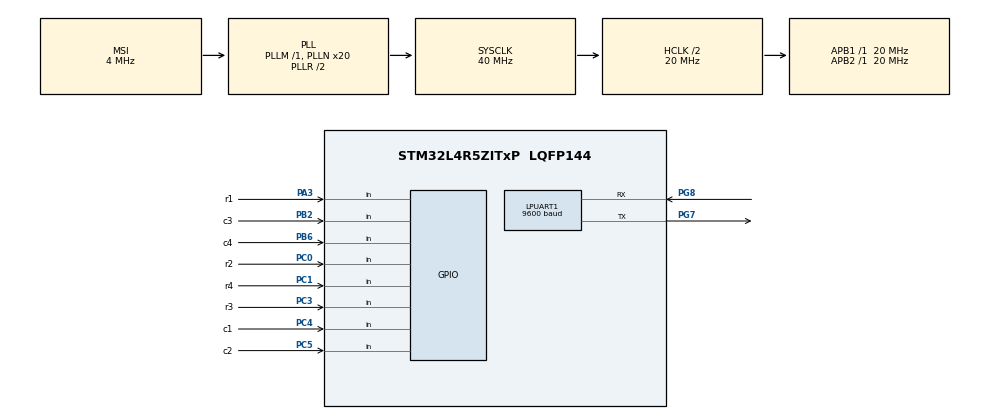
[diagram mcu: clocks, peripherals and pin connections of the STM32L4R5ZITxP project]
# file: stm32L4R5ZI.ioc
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LPUART1.BaudRate=9600
LPUART1.DMADisableonRxErrorParam=UART_ADVFEATURE_DMA_DISABLEONRXERROR
LPUART1.OverrunDisableParam=UART_ADVFEATURE_OVERRUN_DISABLE
LPUART1.WordLength=UART_WORDLENGTH_8B
Mcu.Family=STM32L4
Mcu.Name=STM32L4R5ZITxP
Mcu.Package=LQFP144
NVIC.PriorityGroup=NVIC_PRIORITYGROUP_4
PA3.GPIO_Label=r1
PA3.Signal=GPIO_Input
PB2.GPIO_Label=c3
PB2.GPIO_PuPd=GPIO_PULLUP
PB2.Signal=GPIO_Input
PB6.GPIO_Label=c4
PB6.GPIO_PuPd=GPIO_PULLUP
PB6.Signal=GPIO_Input
PC0.GPIO_Label=r2
PC0.Signal=GPIO_Input
PC1.GPIO_Label=r4
PC1.Signal=GPIO_Input
PC3.GPIO_Label=r3
PC3.Signal=GPIO_Input
PC4.GPIO_Label=c1
PC4.GPIO_PuPd=GPIO_PULLUP
PC4.Signal=GPIO_Input
PC5.GPIO_Label=c2
PC5.GPIO_PuPd=GPIO_PULLUP
PC5.Signal=GPIO_Input
PG7.Mode=Asynchronous
PG7.Signal=LPUART1_TX
PG8.Mode=Asynchronous
PG8.Signal=LPUART1_RX
ProjectManager.HeapSize=0x200
ProjectManager.StackSize=0x400
ProjectManager.TargetToolchain=STM32CubeIDE
RCC.AHBCLKDivider=RCC_SYSCLK_DIV2
RCC.AHBFreq_Value=20000000
RCC.APB1Freq_Value=20000000
RCC.APB1TimFreq_Value=20000000
RCC.APB2Freq_Value=20000000
RCC.APB2TimFreq_Value=20000000
RCC.CortexFreq_Value=20000000
RCC.HCLKFreq_Value=20000000
RCC.HSE_VALUE=8000000
RCC.HSI48_VALUE=48000000
RCC.HSI_VALUE=16000000
RCC.LSE_VALUE=32768
RCC.MSI_VALUE=4000000
RCC.PLLN=20
RCC.SYSCLKFreq_VALUE=40000000
RCC.SYSCLKSource=RCC_SYSCLKSOURCE_PLLCLK
RCC.VCOOutputFreq_Value=80000000
board=custom

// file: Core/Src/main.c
/* USER CODE BEGIN Header */
/**
 ******************************************************************************
 * @file           : main.c
 * @brief          : Main program body
 ******************************************************************************
 * @attention
 *
 * Copyright (c) 2021 STMicroelectronics.
 * All rights reserved.
 *
 * This software is licensed under terms that can be found in the LICENSE file
 * in the root directory of this software component.
 * If no LICENSE file comes with this software, it is provided AS-IS.
 *
 ******************************************************************************
 */
/* USER CODE END Header */
#include "main.h"

/* USER CODE BEGIN Includes */
#define TEST_PROJECT
//#define APP_PROJECT

#include <string.h>
#include <stdio.h>
#include "../../../../keypad-nxn.h"
#include "../../../../keypad-nxn.c"

#ifdef TEST_PROJECT
extern int mainTest();
#endif

/* USER CODE END Includes */

UART_HandleTypeDef hlpuart1;

void SystemClock_Config(void);
static void MX_GPIO_Init(void);
static void MX_LPUART1_UART_Init(void);

/* USER CODE BEGIN 0 */
#define ROW1 a3
#define ROW2 c0
#define ROW3 c3
#define ROW4 c1
#define COL1 c4
#define COL2 c5
#define COL3 b2
#define COL4 b6

keypad_t mykeypad;
const uint8_t keypad_rows_number = 4;
const uint8_t keypad_cols_number = 4;
bool keypad_init_periph() {
	// all columns as "INPUT PULL_UP"
	// all rows as " FLOATING INPUT"
	MX_GPIO_Init();
	return true;
}
bool keypad_deinit_periph() {

	LL_GPIO_InitTypeDef GPIO_InitStruct = { 0 };

	GPIO_InitStruct.Pin = r2_Pin | r4_Pin | r3_Pin;
	GPIO_InitStruct.Mode = LL_GPIO_MODE_ANALOG;
	GPIO_InitStruct.Pull = LL_GPIO_PULL_NO;
	LL_GPIO_Init(GPIOC, &GPIO_InitStruct);

	GPIO_InitStruct.Pin = r1_Pin;
	GPIO_InitStruct.Mode = LL_GPIO_MODE_ANALOG;
	GPIO_InitStruct.Pull = LL_GPIO_PULL_NO;
	LL_GPIO_Init(r1_GPIO_Port, &GPIO_InitStruct);

	GPIO_InitStruct.Pin = c1_Pin | c2_Pin;
	GPIO_InitStruct.Mode = LL_GPIO_MODE_ANALOG;
	GPIO_InitStruct.Pull = LL_GPIO_PULL_NO;
	LL_GPIO_Init(GPIOC, &GPIO_InitStruct);

	GPIO_InitStruct.Pin = c3_Pin | c4_Pin;
	GPIO_InitStruct.Mode = LL_GPIO_MODE_ANALOG;
	GPIO_InitStruct.Pull = LL_GPIO_PULL_NO;
	LL_GPIO_Init(GPIOB, &GPIO_InitStruct);

	return true;
}
void row_as_input(uint8_t row) {
	switch (row) {
	case 1:
		LL_GPIO_SetPinMode(GPIOA, LL_GPIO_PIN_3, LL_GPIO_MODE_INPUT);
		break;
	case 2:
		LL_GPIO_SetPinMode(GPIOC, LL_GPIO_PIN_0, LL_GPIO_MODE_INPUT);
		break;
	case 3:
		LL_GPIO_SetPinMode(GPIOC, LL_GPIO_PIN_3, LL_GPIO_MODE_INPUT);
		break;
	case 4:
		LL_GPIO_SetPinMode(GPIOC, LL_GPIO_PIN_1, LL_GPIO_MODE_INPUT);
		break;
	default:
		break;
	}
}
void row_as_output_low(uint8_t row) {
	switch (row) {
	case 1:
		LL_GPIO_SetPinMode(GPIOA, LL_GPIO_PIN_3, LL_GPIO_MODE_OUTPUT);
		LL_GPIO_ResetOutputPin(GPIOA, LL_GPIO_PIN_3);
		break;
	case 2:
		LL_GPIO_SetPinMode(GPIOC, LL_GPIO_PIN_0, LL_GPIO_MODE_OUTPUT);
		LL_GPIO_ResetOutputPin(GPIOC, LL_GPIO_PIN_0);
		break;
	case 3:
		LL_GPIO_SetPinMode(GPIOC, LL_GPIO_PIN_3, LL_GPIO_MODE_OUTPUT);
		LL_GPIO_ResetOutputPin(GPIOC, LL_GPIO_PIN_3);
		break;
	case 4:
		LL_GPIO_SetPinMode(GPIOC, LL_GPIO_PIN_1, LL_GPIO_MODE_OUTPUT);
		LL_GPIO_ResetOutputPin(GPIOC, LL_GPIO_PIN_1);
		break;
	default:
		break;
	}
}
uint8_t get_column_value(uint8_t column) {
	switch (column) {
	case 1:
		return LL_GPIO_IsInputPinSet(GPIOC, LL_GPIO_PIN_4);
	case 2:
		return LL_GPIO_IsInputPinSet(GPIOC, LL_GPIO_PIN_5);
	case 3:
		return LL_GPIO_IsInputPinSet(GPIOB, LL_GPIO_PIN_2);
	case 4:
		return LL_GPIO_IsInputPinSet(GPIOB, LL_GPIO_PIN_6);
	default:
		return 0;
	}
}
void keypad_delay_ms(int ms) {
	for (int i = 0; i < ms; i++)
		HAL_Delay(1);
}
/* USER CODE END 0 */

int main(void)
{

  /* MCU Configuration--------------------------------------------------------*/

  /* Reset of all peripherals, Initializes the Flash interface and the Systick. */
  HAL_Init();

  /* Configure the system clock */
  SystemClock_Config();

  /* Initialize all configured peripherals */
  MX_LPUART1_UART_Init();
  /* USER CODE BEGIN 2 */

	// Init peripherals asociated to the keypad:
	// all columns as "INPUT PULL_UP"
	// all rows as " FLOATING INPUT"
	// Create a variable of type "keypad_t" and define each of its attributes
	mykeypad.rows = keypad_rows_number;
	mykeypad.columns = keypad_cols_number;
	mykeypad.init_periph = keypad_init_periph;
	mykeypad.deinit_periph = keypad_deinit_periph;
	mykeypad.row_as_Input = row_as_input;
	mykeypad.row_as_OutputLow = row_as_output_low;
	mykeypad.get_column_value = get_column_value;
	mykeypad.delay_ms = keypad_delay_ms;

	// Call "init_keypad" to initialize the keypad. In this case it does nothing
#ifdef APP_PROJECT
	init_keypad(&mykeypad);
	HAL_UART_Transmit(&hlpuart1, (uint8_t*) "PRESS KEYS:\n\r", 13, 1000);
#endif
#ifdef TEST_PROJECT
	return mainTest();
#endif
  /* USER CODE END 2 */

  /* Infinite loop */
  /* USER CODE BEGIN WHILE */
	while (1) {

		//Call "scan_keypad" to check if any key is pressed
#ifdef APP_PROJECT
		keypad_keyPos_t key;
		keypad_error_t res = scan_keypad(&mykeypad, &key);
		if (key.row != -1 && key.column != -1) {
			char bufer[100] = { 0 };
			sprintf(bufer, "key pressed: r%i,c%i\n\r", key.row, key.column);
			HAL_UART_Transmit(&hlpuart1, (uint8_t*) bufer, strlen(bufer), 1000);
		}

		HAL_Delay(1000);
#endif
#ifdef TEST_PROJECT

#endif
    /* USER CODE END WHILE */

	}
}

void SystemClock_Config(void)
{
  RCC_OscInitTypeDef RCC_OscInitStruct = {0};
  RCC_ClkInitTypeDef RCC_ClkInitStruct = {0};

  /** Configure the main internal regulator output voltage
  */
  if (HAL_PWREx_ControlVoltageScaling(PWR_REGULATOR_VOLTAGE_SCALE1) != HAL_OK)
  {
    Error_Handler();
  }
  /** Initializes the RCC Oscillators according to the specified parameters
  * in the RCC_OscInitTypeDef structure.
  */
  RCC_OscInitStruct.OscillatorType = RCC_OSCILLATORTYPE_MSI;
  RCC_OscInitStruct.MSIState = RCC_MSI_ON;
  RCC_OscInitStruct.MSICalibrationValue = 0;
  RCC_OscInitStruct.MSIClockRange = RCC_MSIRANGE_6;
  RCC_OscInitStruct.PLL.PLLState = RCC_PLL_ON;
  RCC_OscInitStruct.PLL.PLLSource = RCC_PLLSOURCE_MSI;
  RCC_OscInitStruct.PLL.PLLM = 1;
  RCC_OscInitStruct.PLL.PLLN = 20;
  RCC_OscInitStruct.PLL.PLLP = RCC_PLLP_DIV2;
  RCC_OscInitStruct.PLL.PLLQ = RCC_PLLQ_DIV2;
  RCC_OscInitStruct.PLL.PLLR = RCC_PLLR_DIV2;
  if (HAL_RCC_OscConfig(&RCC_OscInitStruct) != HAL_OK)
  {
    Error_Handler();
  }
  /** Initializes the CPU, AHB and APB buses clocks
  */
  RCC_ClkInitStruct.ClockType = RCC_CLOCKTYPE_HCLK|RCC_CLOCKTYPE_SYSCLK
                              |RCC_CLOCKTYPE_PCLK1|RCC_CLOCKTYPE_PCLK2;
  RCC_ClkInitStruct.SYSCLKSource = RCC_SYSCLKSOURCE_PLLCLK;
  RCC_ClkInitStruct.AHBCLKDivider = RCC_SYSCLK_DIV2;
  RCC_ClkInitStruct.APB1CLKDivider = RCC_HCLK_DIV1;
  RCC_ClkInitStruct.APB2CLKDivider = RCC_HCLK_DIV1;

  if (HAL_RCC_ClockConfig(&RCC_ClkInitStruct, FLASH_LATENCY_0) != HAL_OK)
  {
    Error_Handler();
  }
}

static void MX_LPUART1_UART_Init(void)
{

  hlpuart1.Instance = LPUART1;
  hlpuart1.Init.BaudRate = 9600;
  hlpuart1.Init.WordLength = UART_WORDLENGTH_8B;
  hlpuart1.Init.StopBits = UART_STOPBITS_1;
  hlpuart1.Init.Parity = UART_PARITY_NONE;
  hlpuart1.Init.Mode = UART_MODE_TX_RX;
  hlpuart1.Init.HwFlowCtl = UART_HWCONTROL_NONE;
  hlpuart1.Init.OneBitSampling = UART_ONE_BIT_SAMPLE_DISABLE;
  hlpuart1.Init.ClockPrescaler = UART_PRESCALER_DIV1;
  hlpuart1.AdvancedInit.AdvFeatureInit = UART_ADVFEATURE_RXOVERRUNDISABLE_INIT|UART_ADVFEATURE_DMADISABLEONERROR_INIT;
  hlpuart1.AdvancedInit.OverrunDisable = UART_ADVFEATURE_OVERRUN_DISABLE;
  hlpuart1.AdvancedInit.DMADisableonRxError = UART_ADVFEATURE_DMA_DISABLEONRXERROR;
  hlpuart1.FifoMode = UART_FIFOMODE_DISABLE;
  if (HAL_UART_Init(&hlpuart1) != HAL_OK)
  {
    Error_Handler();
  }
  if (HAL_UARTEx_SetTxFifoThreshold(&hlpuart1, UART_TXFIFO_THRESHOLD_1_8) != HAL_OK)
  {
    Error_Handler();
  }
  if (HAL_UARTEx_SetRxFifoThreshold(&hlpuart1, UART_RXFIFO_THRESHOLD_1_8) != HAL_OK)
  {
    Error_Handler();
  }
  if (HAL_UARTEx_DisableFifoMode(&hlpuart1) != HAL_OK)
  {
    Error_Handler();
  }

}

static void MX_GPIO_Init(void)
{
  LL_GPIO_InitTypeDef GPIO_InitStruct = {0};

  /* GPIO Ports Clock Enable */
  LL_AHB2_GRP1_EnableClock(LL_AHB2_GRP1_PERIPH_GPIOE);
  LL_AHB2_GRP1_EnableClock(LL_AHB2_GRP1_PERIPH_GPIOC);
  LL_AHB2_GRP1_EnableClock(LL_AHB2_GRP1_PERIPH_GPIOF);
  LL_AHB2_GRP1_EnableClock(LL_AHB2_GRP1_PERIPH_GPIOH);
  LL_AHB2_GRP1_EnableClock(LL_AHB2_GRP1_PERIPH_GPIOA);
  LL_AHB2_GRP1_EnableClock(LL_AHB2_GRP1_PERIPH_GPIOB);
  LL_AHB2_GRP1_EnableClock(LL_AHB2_GRP1_PERIPH_GPIOG);
  LL_AHB2_GRP1_EnableClock(LL_AHB2_GRP1_PERIPH_GPIOD);
  LL_PWR_EnableVddIO2();

  /**/
  GPIO_InitStruct.Pin = LL_GPIO_PIN_2|LL_GPIO_PIN_3|LL_GPIO_PIN_4|LL_GPIO_PIN_5
                          |LL_GPIO_PIN_6|LL_GPIO_PIN_7|LL_GPIO_PIN_8|LL_GPIO_PIN_9
                          |LL_GPIO_PIN_10|LL_GPIO_PIN_11|LL_GPIO_PIN_12|LL_GPIO_PIN_13
                          |LL_GPIO_PIN_14|LL_GPIO_PIN_15|LL_GPIO_PIN_0|LL_GPIO_PIN_1;
  GPIO_InitStruct.Mode = LL_GPIO_MODE_ANALOG;
  GPIO_InitStruct.Pull = LL_GPIO_PULL_NO;
  LL_GPIO_Init(GPIOE, &GPIO_InitStruct);

  /**/
  GPIO_InitStruct.Pin = LL_GPIO_PIN_13|LL_GPIO_PIN_14|LL_GPIO_PIN_15|LL_GPIO_PIN_2
                          |LL_GPIO_PIN_6|LL_GPIO_PIN_7|LL_GPIO_PIN_8|LL_GPIO_PIN_9
                          |LL_GPIO_PIN_10|LL_GPIO_PIN_11|LL_GPIO_PIN_12;
  GPIO_InitStruct.Mode = LL_GPIO_MODE_ANALOG;
  GPIO_InitStruct.Pull = LL_GPIO_PULL_NO;
  LL_GPIO_Init(GPIOC, &GPIO_InitStruct);

  /**/
  GPIO_InitStruct.Pin = LL_GPIO_PIN_0|LL_GPIO_PIN_1|LL_GPIO_PIN_2|LL_GPIO_PIN_3
                          |LL_GPIO_PIN_4|LL_GPIO_PIN_5|LL_GPIO_PIN_6|LL_GPIO_PIN_7
                          |LL_GPIO_PIN_8|LL_GPIO_PIN_9|LL_GPIO_PIN_10|LL_GPIO_PIN_11
                          |LL_GPIO_PIN_12|LL_GPIO_PIN_13|LL_GPIO_PIN_14|LL_GPIO_PIN_15;
  GPIO_InitStruct.Mode = LL_GPIO_MODE_ANALOG;
  GPIO_InitStruct.Pull = LL_GPIO_PULL_NO;
  LL_GPIO_Init(GPIOF, &GPIO_InitStruct);

  /**/
  GPIO_InitStruct.Pin = LL_GPIO_PIN_0|LL_GPIO_PIN_1|LL_GPIO_PIN_3;
  GPIO_InitStruct.Mode = LL_GPIO_MODE_ANALOG;
  GPIO_InitStruct.Pull = LL_GPIO_PULL_NO;
  LL_GPIO_Init(GPIOH, &GPIO_InitStruct);

  /**/
  GPIO_InitStruct.Pin = r2_Pin|r4_Pin|r3_Pin;
  GPIO_InitStruct.Mode = LL_GPIO_MODE_INPUT;
  GPIO_InitStruct.Pull = LL_GPIO_PULL_NO;
  LL_GPIO_Init(GPIOC, &GPIO_InitStruct);

  /**/
  GPIO_InitStruct.Pin = LL_GPIO_PIN_0|LL_GPIO_PIN_1|LL_GPIO_PIN_2|LL_GPIO_PIN_4
                          |LL_GPIO_PIN_5|LL_GPIO_PIN_6|LL_GPIO_PIN_7|LL_GPIO_PIN_8
                          |LL_GPIO_PIN_9|LL_GPIO_PIN_10|LL_GPIO_PIN_11|LL_GPIO_PIN_12
                          |LL_GPIO_PIN_13|LL_GPIO_PIN_14|LL_GPIO_PIN_15;
  GPIO_InitStruct.Mode = LL_GPIO_MODE_ANALOG;
  GPIO_InitStruct.Pull = LL_GPIO_PULL_NO;
  LL_GPIO_Init(GPIOA, &GPIO_InitStruct);

  /**/
  GPIO_InitStruct.Pin = r1_Pin;
  GPIO_InitStruct.Mode = LL_GPIO_MODE_INPUT;
  GPIO_InitStruct.Pull = LL_GPIO_PULL_NO;
  LL_GPIO_Init(r1_GPIO_Port, &GPIO_InitStruct);

  /**/
  GPIO_InitStruct.Pin = c1_Pin|c2_Pin;
  GPIO_InitStruct.Mode = LL_GPIO_MODE_INPUT;
  GPIO_InitStruct.Pull = LL_GPIO_PULL_UP;
  LL_GPIO_Init(GPIOC, &GPIO_InitStruct);

  /**/
  GPIO_InitStruct.Pin = LL_GPIO_PIN_0|LL_GPIO_PIN_1|LL_GPIO_PIN_10|LL_GPIO_PIN_12
                          |LL_GPIO_PIN_13|LL_GPIO_PIN_14|LL_GPIO_PIN_15|LL_GPIO_PIN_3
                          |LL_GPIO_PIN_4|LL_GPIO_PIN_5|LL_GPIO_PIN_7|LL_GPIO_PIN_8
                          |LL_GPIO_PIN_9;
  GPIO_InitStruct.Mode = LL_GPIO_MODE_ANALOG;
  GPIO_InitStruct.Pull = LL_GPIO_PULL_NO;
  LL_GPIO_Init(GPIOB, &GPIO_InitStruct);

  /**/
  GPIO_InitStruct.Pin = c3_Pin|c4_Pin;
  GPIO_InitStruct.Mode = LL_GPIO_MODE_INPUT;
  GPIO_InitStruct.Pull = LL_GPIO_PULL_UP;
  LL_GPIO_Init(GPIOB, &GPIO_InitStruct);

  /**/
  GPIO_InitStruct.Pin = LL_GPIO_PIN_0|LL_GPIO_PIN_1|LL_GPIO_PIN_2|LL_GPIO_PIN_3
                          |LL_GPIO_PIN_4|LL_GPIO_PIN_5|LL_GPIO_PIN_6|LL_GPIO_PIN_9
                          |LL_GPIO_PIN_10|LL_GPIO_PIN_11|LL_GPIO_PIN_12|LL_GPIO_PIN_13
                          |LL_GPIO_PIN_14;
  GPIO_InitStruct.Mode = LL_GPIO_MODE_ANALOG;
  GPIO_InitStruct.Pull = LL_GPIO_PULL_NO;
  LL_GPIO_Init(GPIOG, &GPIO_InitStruct);

  /**/
  GPIO_InitStruct.Pin = LL_GPIO_PIN_8|LL_GPIO_PIN_9|LL_GPIO_PIN_10|LL_GPIO_PIN_11
                          |LL_GPIO_PIN_12|LL_GPIO_PIN_13|LL_GPIO_PIN_14|LL_GPIO_PIN_15
                          |LL_GPIO_PIN_0|LL_GPIO_PIN_1|LL_GPIO_PIN_2|LL_GPIO_PIN_3
                          |LL_GPIO_PIN_4|LL_GPIO_PIN_5|LL_GPIO_PIN_6|LL_GPIO_PIN_7;
  GPIO_InitStruct.Mode = LL_GPIO_MODE_ANALOG;
  GPIO_InitStruct.Pull = LL_GPIO_PULL_NO;
  LL_GPIO_Init(GPIOD, &GPIO_InitStruct);

}

void Error_Handler(void)
{
	__disable_irq();
	while (1) {
	}
}
